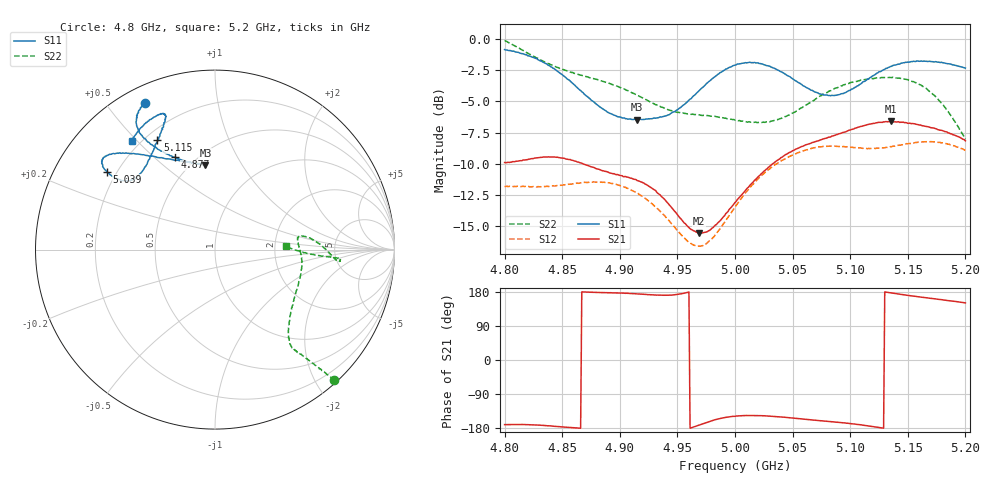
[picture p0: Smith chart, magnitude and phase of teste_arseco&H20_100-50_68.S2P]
! Network Analyzer HP8722D
! Hewlett-Packard
! Data name: Linha & Wilkinson
! Saver's name: Rodrigo Anjos
! Comments: Teste da utilização de aquisição
! continua pelo VNA HP8722D
! Time and date: 6/5/2025 13:08
!  Frequency  S11  S21  S12  S22
# HZ  S  MA R 50
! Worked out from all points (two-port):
!   401 points, 4.8 GHz to 5.2 GHz, reference 50 ohm
!   highest |S21| = -6.61 dB at 5.135 GHz (marker M1); lowest = -15.5 dB at 4.969 GHz (marker M2)
!   |S21| within 3 dB of the highest: 4.822 GHz to 4.853 GHz (30.65 MHz wide, 0.634 % of centre); 5.039 GHz to end of sweep
!   lowest |S11| = -6.5 dB at 4.915 GHz (marker M3), VSWR 2.81, Z = 29.1 + j35.4 ohm
!   |S11| at or under -10 dB: nowhere
!   |S22| runs from -8.0 to -0.1 dB; largest |S21 - S12| = 0.83
!   S11 on the Smith chart (normalised r, x): 4.8 GHz: 0.07, +0.63; 4.877 GHz: 0.39, +0.58; 5.039 GHz: 0.16, +0.32; 5.115 GHz: 0.25, +0.58; 5.2 GHz: 0.17, +0.48
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4.8e9  0.9056 115.7  0.3201 -170.5  0.2569 -86.0  0.9851 -47.5
4.833e9  0.8075 122.4  0.336 -172.5  0.2556 -77.2  0.8152 -49.6
4.849e9  0.7239 122.1  0.3335 -176.4  0.2595 -71.8  0.759 -50.5
4.867e9  0.6136 117.9  0.3181 179.7  0.2651 -67.3  0.7142 -51.5
4.877e9  0.5616 113.4  0.3064 178.5  0.2677 -66.2  0.6936 -51.8
4.899e9  0.4877 101.8  0.2851 176.7  0.26 -66.6  0.6428 -50.2
4.915e9  0.4746 96.4  0.271 174.4  0.2418 -68.2  0.5949 -46.4
4.934e9  0.4844 99.2  0.2391 171.1  0.2068 -69.4  0.5367 -37.4
4.95e9  0.5198 109.5  0.1979 173.0  0.1712 -65.5  0.5078 -27.0
4.969e9  0.6214 123.3  0.1669 -171.5  0.1481 -47.7  0.4967 -15.0
4.981e9  0.697 130.0  0.1759 -159.2  0.1605 -33.9  0.4895 -8.6
5e9  0.7846 137.4  0.2212 -148.5  0.2123 -21.4  0.4731 -0.3
5.018e9  0.801 141.6  0.274 -146.4  0.2692 -18.2  0.4647 5.8
5.039e9  0.7417 144.2  0.3311 -150.0  0.322 -18.2  0.4793 8.8
5.067e9  0.6224 142.1  0.3848 -158.2  0.3652 -20.5  0.5621 4.7
5.088e9  0.595 133.0  0.4136 -163.9  0.3717 -23.7  0.6364 -1.8
5.115e9  0.6886 117.7  0.4541 -173.6  0.3635 -26.7  0.6903 -5.3
5.134e9  0.7702 111.2  0.4657 177.8  0.3694 -28.6  0.7007 -4.7
5.135e9  0.7754 111.2  0.4672 177.3  0.3707 -28.7  0.7005 -4.7
5.163e9  0.8127 113.0  0.4488 165.3  0.3871 -35.6  0.6453 -3.6
5.18e9  0.803 118.8  0.4295 158.8  0.3836 -40.9  0.5484 -2.8
5.2e9  0.7635 127.4  0.3909 150.7  0.3578 -46.3  0.3965 2.5
